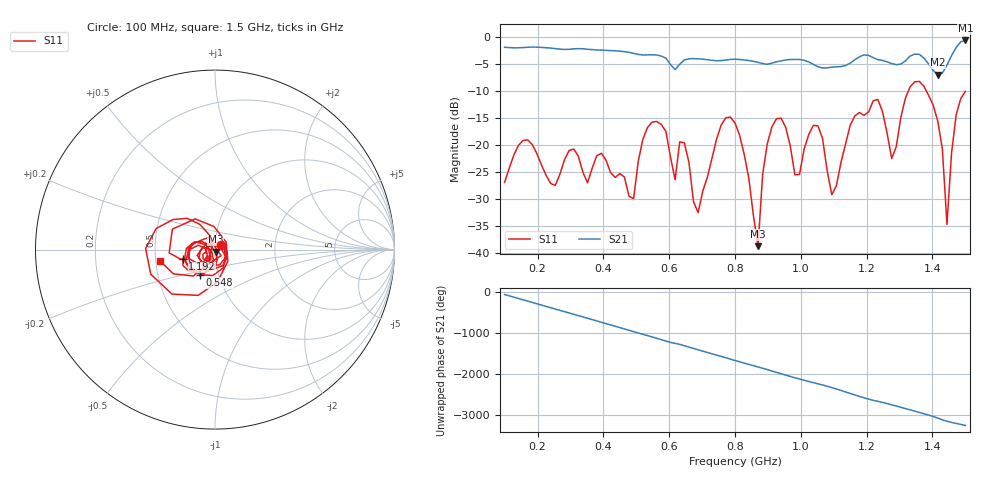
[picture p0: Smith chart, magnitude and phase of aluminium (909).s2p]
! NanoVNA-App
! Date: 2025-09-25 15:02:21
! Start: 100MHz Stop: 1,5GHz Points: 101
! S-Parameter data: F S11 S21 S12 S22
# Hz S RI R 50
!  Frequency  S11_Real  S11_Imag  S21_Real  S21_Imag  S12_Real  S12_Imag  S22_Real  S22_Imag
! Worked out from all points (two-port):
!   101 points, 100 MHz to 1.5 GHz, reference 50 ohm
!   highest |S21| = -0.67 dB at 1.5 GHz (marker M1); lowest = -7.0 dB at 1.416 GHz (marker M2)
!   |S21| within 3 dB of the highest: start of sweep to 579.9 MHz; 1.456 GHz to end of sweep (the widest 2 of 4)
!   lowest |S11| = -38.8 dB at 870 MHz (marker M3), VSWR 1.02, Z = 50.3 - j1.12 ohm
!   |S11| at or under -10 dB: start of sweep to 1.327 GHz; 1.381 GHz to end of sweep
!   S12 and S22 are empty: the file has one direction only
!   S11 on the Smith chart (normalised r, x): 100 MHz: 1.07, +0.06; 548 MHz: 0.82, -0.24; 1.192 GHz: 0.69, -0.08; 1.5 GHz: 0.53, -0.07
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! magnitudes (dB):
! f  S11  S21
! 100 MHz  -27.0  -1.9
! 170 MHz  -19.1  -1.9
! 338 MHz  -25.1  -2.2
! 492 MHz  -30.0  -3.1
! 548 MHz  -15.8  -3.3
! 576 MHz  -16.2  -3.6
! 646 MHz  -19.6  -4.3
! 688 MHz  -32.6  -4.1
! 800 MHz  -16.0  -4.1
! 870 MHz  -38.8  -4.7
! 912 MHz  -16.7  -4.9
! 982 MHz  -25.6  -4.2
! 1.038 GHz  -16.4  -5.1
! 1.094 GHz  -29.2  -5.6
! 1.192 GHz  -14.5  -3.3
! 1.234 GHz  -11.6  -4.2
! 1.276 GHz  -22.5  -4.9
! 1.346 GHz  -8.3  -3.2
! 1.416 GHz  -15.6  -7.0
! 1.444 GHz  -34.7  -5.2
! 1.472 GHz  -14.4  -1.9
! 1.5 GHz  -10.1  -0.7
